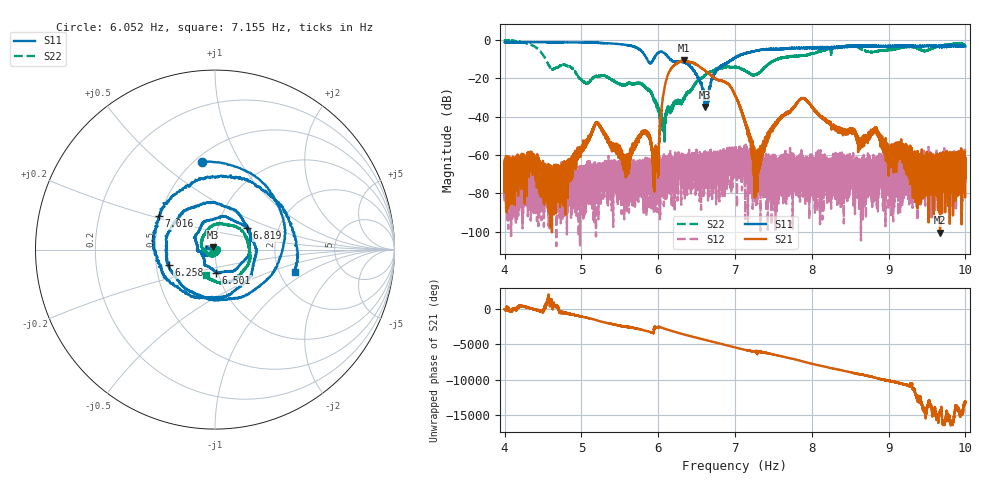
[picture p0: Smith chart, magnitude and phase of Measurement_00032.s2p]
!Created with skrf (http://scikit-rf.org).
# Hz S RI R 50.0
!freq ReS11 ImS11 ReS21 ImS21 ReS12 ImS12 ReS22 ImS22
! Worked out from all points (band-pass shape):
!   14001 points, 4 Hz to 10 Hz, reference 50 ohm
!   highest |S21| = -10.58 dB at 6.338 Hz (marker M1); lowest = -100.5 dB at 9.67 Hz (marker M2)
!   |S21| within 3 dB of the highest: 6.197 Hz to 6.528 Hz (331.6 mHz wide, 5.21 % of centre); 6.528154 Hz to 6.529659 Hz (1.505 mHz wide, 0.0231 % of centre) (the widest 2 of 3)
!   lowest |S11| = -34.8 dB at 6.612 Hz (marker M3), VSWR 1.04, Z = 48.8 + j1.33 ohm
!   |S11| at or under -10 dB: 5.856 Hz to 5.937 Hz (80.3 mHz wide, 1.36 % of centre); 6.154119 Hz to 6.155702 Hz (1.583 mHz wide, 0.0257 % of centre); 6.156 Hz to 6.963 Hz (807.7 mHz wide, 12.3 % of centre) (the widest 3 of 10)
!   |S22| runs from -52.9 to -0.2 dB; largest |S21 - S12| = 0.3
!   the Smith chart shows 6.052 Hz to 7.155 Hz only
!   S11 on the Smith chart (normalised r, x): 6.052 Hz: 0.54, +0.70; 6.258 Hz: 0.58, -0.11; 6.501 Hz: 0.98, -0.25; 6.819 Hz: 1.39, +0.34; 7.016 Hz: 0.49, +0.21; 7.155 Hz: 2.43, -0.78
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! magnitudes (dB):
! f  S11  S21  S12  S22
! 4 Hz  -1.0  -64.5  -76.6  -0.2
! 4.593 Hz  -1.1  -67.2  -72.8  -14.2
! 5 Hz  -1.3  -55.6  -78.8  -20.7
! 5.204 Hz  -1.4  -43.0  -69.4  -18.9
! 5.58 Hz  -2.5  -64.0  -68.3  -23.0
! 5.805 Hz  -6.8  -48.5  -71.1  -23.7
! 6 Hz  -6.6  -68.7  -78.9  -35.0
! 6.052 Hz  -6.1  -32.8  -64.7  -42.3
! 6.258 Hz  -11.3  -11.7  -60.7  -32.3
! 6.338 Hz  -11.7  -10.6  -70.0  -30.6
! 6.501 Hz  -17.9  -12.8  -65.3  -21.7
! 6.612 Hz  -34.8  -16.0  -64.4  -18.1
! 6.819 Hz  -13.4  -21.2  -67.9  -14.5
! 7 Hz  -9.3  -28.6  -60.0  -14.0
! 7.016 Hz  -8.8  -29.9  -60.0  -14.1
! 7.155 Hz  -6.7  -46.2  -58.0  -16.4
! 7.286 Hz  -5.5  -68.1  -65.6  -17.7
! 7.589 Hz  -4.7  -41.2  -64.7  -9.5
! 8 Hz  -4.2  -34.5  -67.0  -6.9
! 9 Hz  -3.2  -59.1  -76.0  -5.1
! 9.67 Hz  -3.5  -100.5  -68.0  -3.0
! 10 Hz  -3.3  -61.8  -70.9  -3.1
